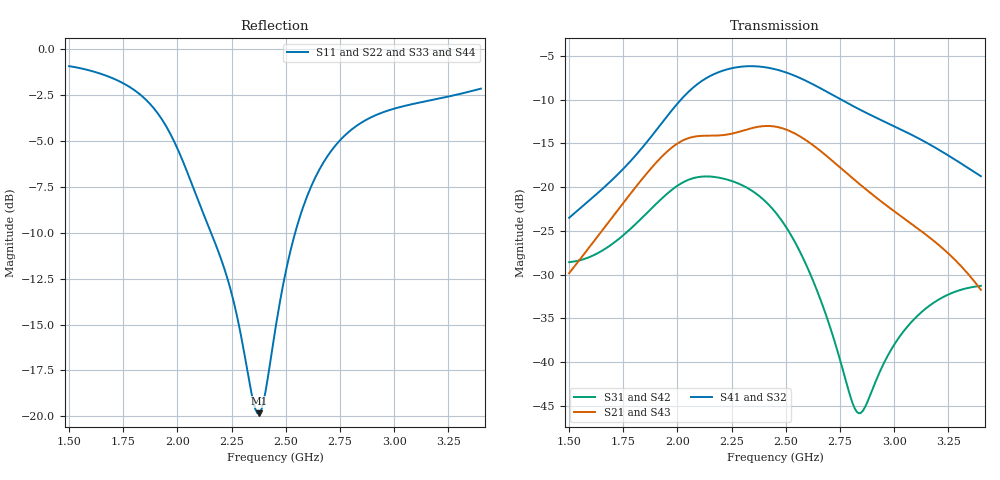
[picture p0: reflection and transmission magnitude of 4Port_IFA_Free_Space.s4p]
! Touchstone file from project 4Port_PIFA_SAR
! Exported from HFSS 2017.0.0
! Variables:
!  A = 0.19mm
!  Airbox_dist = 125mm
!  Ant_Shift = -0.0300000000000002mm
!  Antenna_Offset = 3mm
!  Antenna_Trace_Width = 1.48mm
!  Feed_Length = 0.148mm
!  Feed_Offset = -5.23mm
!  Feed_Width = 1.48mm
!  I1 = 1mA
!  I2 = -1.11mA
!  L1 = 5.5mm
!  L2 = 61.595mm
!  L3 = 10mm
!  L4 = 54.25mm
!  Length1 = 25.5mm
!  Length2 = 6.1mm
!  Offset = 18.5mm
!  VirtualObject_dist = 12.4914mm
!  s = 1.5mm
!  subH = 62mil
!  subX = 49.4mm
!  subY = 98.8mm
# GHZ S MA R 50.000000
! Terminal data exported
! Port[1] = Feed1_T1
! Port[2] = Feed2_T1
! Port[3] = Feed3_T1
! Port[4] = Feed4_T1
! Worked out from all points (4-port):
!   200 points, 1.5 GHz to 3.4 GHz, reference per port
!   strongest paths, dB at 1.5 GHz, 1.977 GHz, 2.455 GHz, 2.932 GHz, 3.4 GHz:
!     S41: -23.5, -11.1, -6.6, -12.3, -18.8
!     S32: -23.5, -11.2, -6.6, -12.3, -18.7
!     S21: -29.8, -15.4, -13.1, -21.5, -31.7
!     S43: -29.8, -15.4, -13.1, -21.5, -31.7
!     S31: -28.6, -20.2, -23.0, -41.2, -31.3
!     S42: -28.6, -20.3, -23.0, -41.2, -31.2
!   lowest |S11| = -19.8 dB at 2.378 GHz (marker M1), VSWR 1.23
!   |S11| at or under -10 dB: 2.155 GHz to 2.543 GHz (388.5 MHz wide, 16.5 % of centre)
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1.5  0.8976 -133.3  0.03226 3.4  0.0373 -144.2  0.06679 -88.1
     0.03226 3.4  0.898 -133.1  0.06666 -88.1  0.03722 -144.1
     0.0373 -144.2  0.06666 -88.1  0.898 -133.2  0.03225 3.7
     0.06679 -88.1  0.03722 -144.1  0.03225 3.7  0.898 -133.1
1.929648  0.6412 137.4  0.1501 -136.5  0.08652 38.5  0.2337 156.7
          0.1501 -136.5  0.6428 137.8  0.2331 156.8  0.08624 38.8
          0.08652 38.5  0.2331 156.8  0.643 137.6  0.1496 -136.3
          0.2337 156.7  0.08624 38.8  0.1496 -136.3  0.6431 137.8
2.158794  0.3119 102.9  0.1967 125.5  0.1147 -107.1  0.4357 66.4
          0.1967 125.5  0.3142 103.3  0.4349 66.5  0.1143 -106.8
          0.1147 -107.1  0.4349 66.5  0.3143 102.9  0.1963 125.8
          0.4357 66.4  0.1143 -106.8  0.1963 125.8  0.3146 103.3
2.378392  0.102 133.3  0.2216 43.2  0.08871 107.8  0.4875 -22.8
          0.2216 43.2  0.1027 132.4  0.4872 -22.6  0.08844 108.0
          0.08871 107.8  0.4872 -22.6  0.1021 132.2  0.2216 43.4
          0.4875 -22.8  0.08844 108.0  0.2216 43.4  0.103 133.1
2.550251  0.3272 156.5  0.1996 -31.6  0.04648 -2.7  0.4275 -86.0
          0.1996 -31.6  0.3257 156.7  0.4277 -85.9  0.04639 -2.6
          0.04648 -2.7  0.4277 -85.9  0.3258 156.5  0.1996 -31.5
          0.4275 -86.0  0.04639 -2.6  0.1996 -31.5  0.3272 156.5
2.836683  0.6235 98.1  0.1049 -137.0  0.005115 -65.6  0.2789 -170.5
          0.1049 -137.0  0.6228 98.4  0.279 -170.5  0.004961 -65.4
          0.005115 -65.6  0.279 -170.5  0.6232 98.2  0.1049 -136.9
          0.2789 -170.5  0.004961 -65.4  0.1049 -136.9  0.6233 98.3
3.4  0.7798 -3.2  0.02594 47.5  0.02732 161.0  0.1154 66.1
     0.02594 47.5  0.7787 -2.8  0.1159 66.1  0.02741 160.8
     0.02732 161.0  0.1159 66.1  0.7796 -3.0  0.02613 47.2
     0.1154 66.1  0.02741 160.8  0.02613 47.2  0.7791 -3.0
